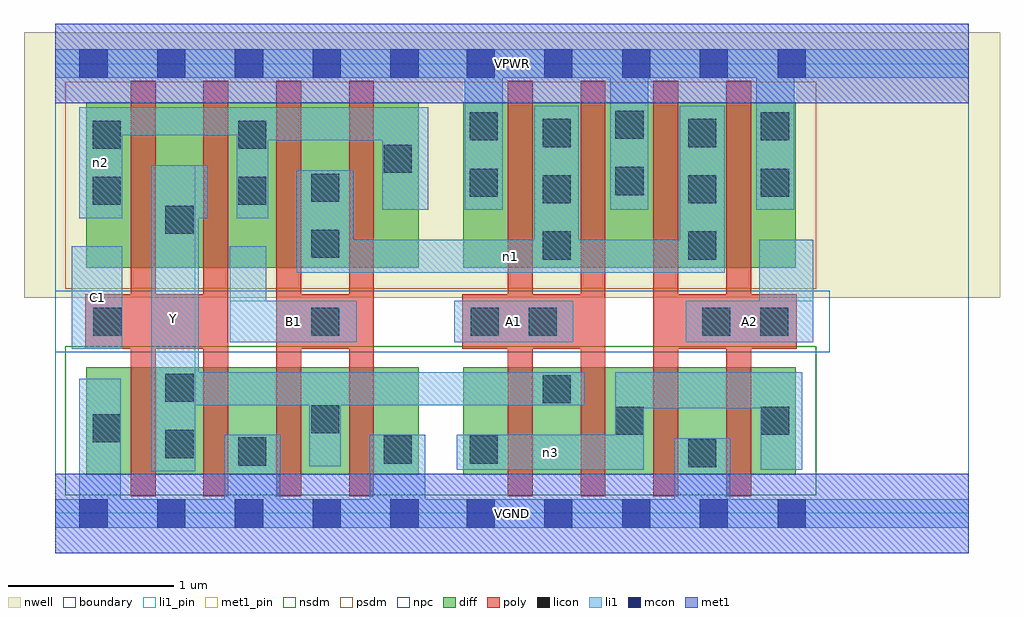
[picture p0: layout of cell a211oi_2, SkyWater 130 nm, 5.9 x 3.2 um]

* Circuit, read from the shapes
.subckt a211oi_2 A1 A2 B1 C1 VGND VPWR Y n1 n2 n3
XM1 Y C1 VGND VSUBS sky130_fd_pr__nfet_01v8 w=0.65 l=0.15 m=2
XM2 Y B1 VGND VSUBS sky130_fd_pr__nfet_01v8 w=0.65 l=0.15 m=2
XM3 Y A1 n3 VSUBS sky130_fd_pr__nfet_01v8 w=0.65 l=0.15 m=2
XM4 VGND A2 n3 VSUBS sky130_fd_pr__nfet_01v8 w=0.65 l=0.15 m=2
XM5 Y C1 n2 n4 sky130_fd_pr__pfet_01v8 w=1 l=0.15 m=2
XM6 n1 B1 n2 n4 sky130_fd_pr__pfet_01v8 w=1 l=0.15 m=2
XM7 n1 A1 VPWR n4 sky130_fd_pr__pfet_01v8 w=1 l=0.15 m=2
XM8 n1 A2 VPWR n4 sky130_fd_pr__pfet_01v8 w=1 l=0.15 m=2
.ends

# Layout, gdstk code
import gdstk
lib = gdstk.Library(unit=1e-6, precision=1e-09)
def R(c, l, rs):  # rectangles x0, y0, x1, y1
    for r in rs: c.add(gdstk.rectangle(r[:2], r[2:], *l))
def A(c, l, x, y, w, h, nx, ny, dx, dy):  # array of equal rectangles
    R(c, l, [(x+i*dx, y+j*dy, x+i*dx+w, y+j*dy+h) for i in range(nx) for j in range(ny)])
nwell = (64, 20)
diff = (65, 20)
poly = (66, 20)
licon = (66, 44)
li1_pin = (67, 16)
li1 = (67, 20)
mcon = (67, 44)
met1_pin = (68, 16)
met1 = (68, 20)
nsdm = (93, 44)
psdm = (94, 20)
npc = (95, 20)
boundary = (235, 4)

a211oi_2 = lib.new_cell('a211oi_2')
R(a211oi_2, nwell, [(-0.19,1.305,5.71,2.91), (0,1.305,5.52,2.91)])
R(a211oi_2, diff, [(0.185,0.235,2.195,0.885), (2.465,0.235,4.475,0.885), (0.185,1.485,2.195,2.485), (2.465,1.485,4.475,2.485)])
A(a211oi_2, poly, 0.455, 0.105, 0.15, 2.51, 4, 1, 0.44, 0)
A(a211oi_2, poly, 2.735, 0.105, 0.15, 2.51, 4, 1, 0.44, 0)
R(a211oi_2, poly, [(0.18,0.995,1.045,1.325), (1.335,0.995,1.925,1.325), (2.46,0.995,3.325,1.325), (3.615,0.995,4.48,1.325)])
A(a211oi_2, licon, 2.945, 1.535, 0.17, 0.17, 1, 3, 0, 0.34)
A(a211oi_2, licon, 3.825, 1.535, 0.17, 0.17, 1, 3, 0, 0.34)
R(a211oi_2, licon, [(3.825,0.28,3.995,0.45), (1.105,0.29,1.275,0.46), (1.985,0.3,2.155,0.47), (2.505,0.3,2.675,0.47), (0.665,0.335,0.835,0.505), (0.225,0.43,0.395,0.6), (3.385,0.475,3.555,0.645), (4.265,0.475,4.435,0.645), (1.545,0.485,1.715,0.655), (2.945,0.665,3.115,0.835), (0.665,0.675,0.835,0.845), (0.23,1.075,0.4,1.245), (1.545,1.075,1.715,1.245), (2.51,1.075,2.68,1.245), (2.86,1.075,3.03,1.245), (3.91,1.075,4.08,1.245), (4.26,1.075,4.43,1.245), (1.545,1.545,1.715,1.715), (0.665,1.69,0.835,1.86), (0.225,1.865,0.395,2.035), (1.105,1.865,1.275,2.035), (1.545,1.885,1.715,2.055), (2.505,1.915,2.675,2.085), (4.265,1.915,4.435,2.085), (3.385,1.925,3.555,2.095), (1.985,2.06,2.155,2.23), (0.225,2.205,0.395,2.375), (1.105,2.205,1.275,2.375), (2.505,2.255,2.675,2.425), (4.265,2.255,4.435,2.425), (3.385,2.265,3.555,2.435)])
R(a211oi_2, li1_pin, [(0.58,0.255,0.845,2.105), (0.1,0.995,0.405,1.615), (1.055,1.035,1.82,1.285), (2.41,1.035,3.13,1.285), (3.81,1.035,4.58,1.285)])
A(a211oi_2, li1, 2.475, 1.835, 0.23, 0.97, 3, 1, 0.88, 0)
R(a211oi_2, li1, [(0,-0.085,5.52,0.085), (0.145,-0.085,0.395,0.815), (1.02,-0.085,1.36,0.475), (1.9,-0.085,2.235,0.475), (3.74,-0.085,4.08,0.455), (0.58,0.255,0.845,2.105), (2.425,0.265,3.555,0.475), (3.385,0.265,3.555,0.855), (4.265,0.265,4.515,0.855), (1.535,0.285,1.725,0.855), (3.385,0.635,4.515,0.855), (0.58,0.655,3.2,0.855), (0.58,0.655,0.865,2.105), (0.1,0.995,0.405,1.615), (1.055,1.035,1.82,1.285), (1.055,1.035,1.275,1.615), (2.41,1.035,3.13,1.285), (3.81,1.035,4.58,1.285), (4.255,1.035,4.58,1.655), (1.46,1.455,4.045,1.655), (1.46,1.455,1.8,2.075), (2.895,1.455,3.165,2.465), (3.775,1.455,4.045,2.465), (0.145,1.785,0.405,2.455), (0.58,1.785,0.92,2.105), (1.095,1.785,1.285,2.455), (1.975,1.835,2.255,2.455), (1.095,2.255,2.255,2.455), (0.145,2.285,2.255,2.455), (0,2.635,5.52,2.805)])
A(a211oi_2, mcon, 0.145, -0.085, 0.17, 0.17, 5, 2, 0.47, 2.72)
A(a211oi_2, mcon, 2.485, -0.085, 0.17, 0.17, 5, 2, 0.47, 2.72)
R(a211oi_2, met1_pin, [(0,-0.24,5.52,0.24), (0,2.48,5.52,2.96)])
R(a211oi_2, met1, [(0,-0.24,5.52,0.24), (0,2.48,5.52,2.96)])
R(a211oi_2, nsdm, [(0.06,0.11,4.6,1.01)])
R(a211oi_2, psdm, [(0.06,1.36,4.6,2.61)])
R(a211oi_2, npc, [(0,0.975,4.68,1.345)])
R(a211oi_2, boundary, [(0,0,5.52,2.72)])
a211oi_2.add(gdstk.Label('A1', (2.77,1.16), layer=67, texttype=5))
a211oi_2.add(gdstk.Label('A2', (4.195,1.16), layer=67, texttype=5))
a211oi_2.add(gdstk.Label('B1', (1.437,1.16), layer=67, texttype=5))
a211oi_2.add(gdstk.Label('C1', (0.252,1.305), layer=67, texttype=5))
a211oi_2.add(gdstk.Label('Y', (0.712,1.18), layer=67, texttype=5))
a211oi_2.add(gdstk.Label('n3', (2.99,0.37), layer=67, texttype=5))
a211oi_2.add(gdstk.Label('n2', (0.275,2.12), layer=67, texttype=5))
a211oi_2.add(gdstk.Label('n1', (2.752,1.555), layer=67, texttype=5))
a211oi_2.add(gdstk.Label('VPWR', (2.76,2.72), layer=68, texttype=5))
a211oi_2.add(gdstk.Label('VGND', (2.76,0), layer=68, texttype=5))
a211oi_2.add(gdstk.Label('A1', (2.77,1.16), layer=67, texttype=16))
a211oi_2.add(gdstk.Label('A2', (4.195,1.16), layer=67, texttype=16))
a211oi_2.add(gdstk.Label('B1', (1.437,1.16), layer=67, texttype=16))
a211oi_2.add(gdstk.Label('C1', (0.252,1.305), layer=67, texttype=16))
a211oi_2.add(gdstk.Label('Y', (0.712,1.18), layer=67, texttype=16))
a211oi_2.add(gdstk.Label('VPWR', (2.76,2.72), layer=68, texttype=16))
a211oi_2.add(gdstk.Label('VGND', (2.76,0), layer=68, texttype=16))

lib.write_gds('a211oi_2.gds')
